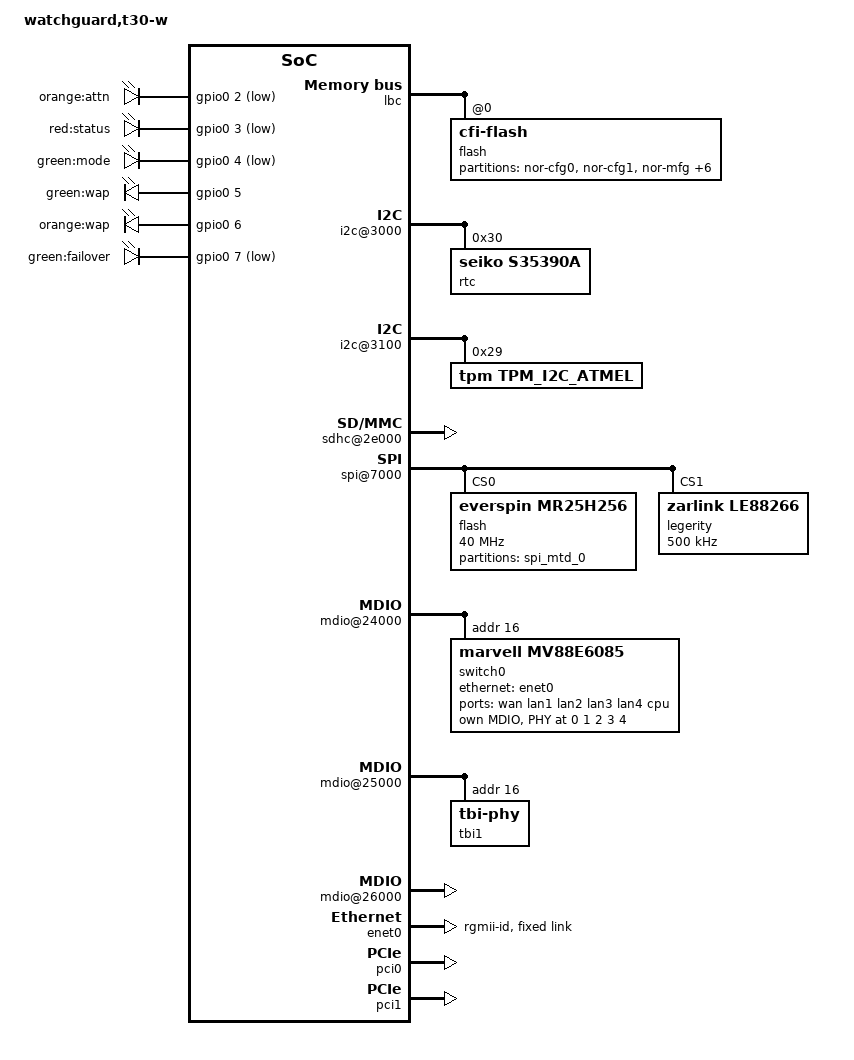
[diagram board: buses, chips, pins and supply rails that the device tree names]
// SPDX-License-Identifier: GPL-2.0-or-later OR MIT

#include <dt-bindings/gpio/gpio.h>
#include <dt-bindings/input/input.h>

/include/ "fsl/p1020si-pre.dtsi"
/ {
	model = "watchguard,t30-w";
	compatible = "watchguard,t30-w";
	
	aliases {
		serial0 = &serial0;
		serial1 = &serial1;
		ethernet0 = &enet0;
		pci0 = &pci0;
		pci1 = &pci1;
		led-boot = &attn_orange;
		led-failsafe = &status_red;
		led-running = &attn_orange;
		led-upgrade = &status_red;
	};
		
	memory {
		device_type = "memory";
	};
	
	cpus {
		/delete-property/ PowerPC,P1020@1; /* P1011 have one core only */
	};

	lbc: localbus@ffe05000 {
		reg = <0x0 0xffe05000 0x0 0x1000>;
		compatible = "fsl,p1020-elbc","fsl,elbc","simple-bus";
		interrupts = <0x13 0x02>;
		interrupt-parent = <&mpic>;

		/* NOR Flash */
		ranges = <0x00 0x00 0x00 0xefc00000 0x100000>;
		
		flash@0 {
			#address-cells = <0x01>;
			#size-cells = <0x01>;
			compatible = "cfi-flash";
			reg = <0x00 0x00 0x400000>;
			bank-width = <0x02>;
			device-width = <0x01>;
			
			partitions {
				compatible = "fixed-partitions";
				#address-cells = <1>;
				#size-cells = <1>;
				
				partition@0 {
					reg = <0x00 0x20000>;
					label = "nor-cfg0";

					nvmem-layout {
						compatible = "fixed-layout";
						#address-cells = <1>;
						#size-cells = <1>;
						macaddr_hwinfo_1830: macaddr@1830 {
							compatible = "mac-base";
							reg = <0x1830 0x11>;
							#nvmem-cell-cells = <1>;
						};
						macaddr_hwinfo_1844: macaddr@1844 {
							compatible = "mac-base";
							reg = <0x1844 0x11>;
							#nvmem-cell-cells = <1>;
						};
						macaddr_hwinfo_1858: macaddr@1858 {
							compatible = "mac-base";
							reg = <0x1858 0x11>;
							#nvmem-cell-cells = <1>;
						};
						macaddr_hwinfo_186c: macaddr@186c {
							compatible = "mac-base";
							reg = <0x186c 0x11>;
							#nvmem-cell-cells = <1>;
						};
						macaddr_hwinfo_1880: macaddr@1880 {
							compatible = "mac-base";
							reg = <0x1880 0x11>;
							#nvmem-cell-cells = <1>;
						};
						macaddr_hwinfo_1894: macaddr@1894 {
							compatible = "mac-base";
							reg = <0x1894 0x11>;
							#nvmem-cell-cells = <1>;
						};
					};
				};

				partition@20000 {
					reg = <0x20000 0x10000>;
					label = "nor-cfg1";
				};

				partition@30000 {
					reg = <0x30000 0x20000>;
					label = "nor-mfg";
				};

				partition@50000 {
					reg = <0x50000 0xc0000>;
					label = "nor-bootopt";
				};

				partition@110000 {
					reg = <0x110000 0xc0000>;
					label = "nor-extra1";
				};

				partition@1D0000 {
					reg = <0x1d0000 0xc0000>;
					label = "nor-extra2";
				};

				partition@290000 {
					reg = <0x290000 0xe0000>;
					label = "nor-backup";
				};

				partition@370000 {
					reg = <0x370000 0x10000>;
					label = "nor-ubootenv";
				};

				partition@380000 {
					reg = <0x380000 0x80000>;
					label = "nor-uboot";
				};
			};
		};
	};

	soc: soc@ffe00000 {
		compatible = "fsl,p1020-immr","simple-bus";
		ranges = <0x0 0x0 0xffe00000 0x100000>;
		
		i2c@3000 {
			rtc@30 {
				compatible = "seiko,s35390a";
				reg = <0x30>;
			};
		};

		i2c@3100 {
			tpm@29 {
				compatible = "tpm,tpm_i2c_atmel";
				reg = <0x29>;
			};
		};
		
		sdhc@2e000 {
			compatible = "fsl,p1020-esdhc","fsl,esdhc";
			sdhci,auto-cmd12;
			reg = <0x2e000 0x1000>;
			interrupts = <0x48 0x2 0x0 0x0>;
			interrupt-parent = <&mpic>;
			fsl,sdhci-dma-broken;
			fsl,sdhci-ahb2mag-irq-bypass;
			fsl,sdhci-adjust-timeout;
			clock-frequency = <0>;
		};

		spi@7000 {
			cell-index = <0x00>;
			#address-cells = <0x01>;
			#size-cells = <0x00>;
			compatible = "fsl,mpc8536-espi";
			reg = <0x7000 0x1000>;
			interrupts = <0x3b 0x02>;
			interrupt-parent = <&mpic>;
			fsl,espi-num-chipselects = <0x04>;

			flash@0 {
				#address-cells = <0x01>;
				#size-cells = <0x01>;
				compatible = "everspin,mr25h256","jedec,spi-nor";
				reg = <0>; /* Chip select 0 */
				spi-max-frequency = <40000000>;
				m25p,fast-read;

				partition@spi_mtd_0 {
					label = "spi_mtd_0";
					reg = <0x00 0x8000>;
				};
			};

			legerity@1 {
				compatible = "zarlink,le88266";
				reg = <0x01>;
				spi-max-frequency = <500000>;
			};
		};
		
		usb@22000 {
			phy_type = "ulpi";
			dr_mode = "host";
		};

		mdio@24000 {
			compatible = "fsl,etsec2-mdio";
			reg = <0x24000 0x1000 0xb0030 0x4>;
			
			switch0: tbi0: tbi-phy@16 {
				compatible = "marvell,mv88e6085";
				reg = <0x10>;
				
				mdio {
					#address-cells = <1>;
					#size-cells = <0>;

					switch0phy0: switch0phy0@0 {
						reg = <0x00>;
						interrupt-parent = <&switch0>;
					};

					switch0phy1: switch0phy1@1 {
						reg = <0x01>;
						interrupt-parent = <&switch0>;
					};

					switch0phy2: switch0phy2@2 {
						reg = <0x02>;
						interrupt-parent = <&switch0>;
					};

					switch0phy3: switch0phy3@3 {
						reg = <0x03>;
						interrupt-parent = <&switch0>;
					};

					switch0phy4: switch0phy4@4 {
						reg = <0x04>;
						interrupt-parent = <&switch0>;
					};
				};
				
				ports {
					#address-cells = <1>;
					#size-cells = <0>;
					  
					port@0 {
						reg = <0x00>;
						label = "wan";
						phy-handle = <&switch0phy0>;
						nvmem-cells = <&macaddr_hwinfo_1830 0>;
						nvmem-cell-names = "mac-address";
					};

					port@1 {
						reg = <1>;
						label = "lan1";
						phy-handle = <&switch0phy1>;
						nvmem-cells = <&macaddr_hwinfo_1844 0>;
						nvmem-cell-names = "mac-address";
					};

					port@2 {
						reg = <2>;
						label = "lan2";
						phy-handle = <&switch0phy2>;
						nvmem-cells = <&macaddr_hwinfo_1858 0>;
						nvmem-cell-names = "mac-address";
					};
					  
					port@3 {
						reg = <3>;
						label = "lan3";
						phy-handle = <&switch0phy3>;
						nvmem-cells = <&macaddr_hwinfo_186c 0>;
						nvmem-cell-names = "mac-address";
					};

					port@4 {
						reg = <4>;
						label = "lan4";
						phy-handle = <&switch0phy4>;
						nvmem-cells = <&macaddr_hwinfo_1880 0>;
						nvmem-cell-names = "mac-address";
					};
										
					switch0port6: port@6 {
						reg = <6>;
						label = "cpu";
						ethernet = <&enet0>;
						phy-mode = "rgmii-id";
						fixed-link {
							speed = <1000>;
							full-duplex;
						};
					};
				};
			};
		};
		
		mdio@25000 {
			compatible = "fsl,etsec2-tbi";
			reg = <0x25000 0x1000 0xb1030 0x4>;
			tbi1: tbi-phy@16 {
				reg = <0x10>;
			};
		};
		
		mdio@26000 {
			#address-cells = <1>;
			#size-cells = <0>;
			compatible = "fsl,etsec2-tbi";
			reg = <0x26000 0x1000 0xb1030 0x4>;
		};

		enet0: ethernet@b0000 {
			compatible = "fsl,etsec2";
			phy-connection-type = "rgmii-id";
			fixed-link {
				speed = <1000>;
				full-duplex;
			};
		};

		enet1: ethernet@b1000 {
			status = "disabled";
		};

		enet2: ethernet@b2000 {
			status = "disabled";
		};

		gpio0: gpio@f000 {
			compatible = "fsl,mpc8572-gpio", "fsl,pq3-gpio";
			reg = <0xf000 0x1000>;
			interrupts = <47 2>;
			interrupt-parent = <&mpic>;
			#gpio-cells = <2>;
			gpio-controller;
		};
	};
	
	leds {
		compatible = "gpio-leds";

		attn_orange: attn_orange {
			gpios = <&gpio0 2 GPIO_ACTIVE_LOW>;
			label = "orange:attn";
		};
		
		status_red: status_red {
			gpios = <&gpio0 3 GPIO_ACTIVE_LOW>;
			label = "red:status";
		};
		
		mode_green: mode_green {
			gpios = <&gpio0 4 GPIO_ACTIVE_LOW>;
			label = "green:mode";
		};
		
		wap_green: wap_green {
			gpios = <&gpio0 5 GPIO_ACTIVE_HIGH>;
			label = "green:wap";
			default-state = "keep";
		};
		
		wap_orange: wap_orange {
			gpios = <&gpio0 6 GPIO_ACTIVE_HIGH>;
			label = "orange:wap";
			default-state = "keep";
		};
		
		failover_green: failover_green {
			gpios = <&gpio0 7 GPIO_ACTIVE_LOW>;
			label = "green:failover";
		};
	};

	//fsl-pci ffe09000.pcie: PCI host bridge to bus 0000:00
	pci0: pcie@ffe09000 {
		cell-index = <0x01>;
		compatible = "fsl,mpc8548-pcie";
		device_type = "pci";
		#interrupt-cells = <0x01>;
		#size-cells = <0x02>;
		#address-cells = <0x03>;
		reg = <0x00 0xffe09000 0x00 0x1000>;
		bus-range = <0x00 0xff>;
		ranges = <0x2000000 0x0 0xa0000000 0x0 0xa0000000
					0x0 0x20000000>,
				 <0x1000000 0x0 0x0        0x0 0xffc10000
					0x0 0x10000>;
		clock-frequency = <33333333>;
		interrupt-parent = <&mpic>;
		interrupts = <0x10 0x02>;
		interrupt-map-mask = <0xf800 0x00 0x00 0x07>;
		interrupt-map = <0x00 0x00 0x00 0x01 0x02 0x04 0x01 0x00 0x00 
			0x00 0x02 0x02 0x05 0x01 0x00 0x00 0x00 0x03 0x02 0x06 0x01 
			0x00 0x00 0x00 0x04 0x02 0x07 0x01>;

		pcie@0 {
			reg = <0x00 0x00 0x00 0x00 0x00>;
			#size-cells = <0x02>;
			#address-cells = <0x03>;
			device_type = "pci";
			ranges = <0x2000000 0x0 0xa0000000 0x2000000 0x0 0xa0000000
						0x0 0x20000000>,
					 <0x1000000 0x0 0x0        0x1000000 0x0 0x0
						0x0 0x100000>;
		};
	};

	//fsl-pci ffe0a000.pcie: PCI host bridge to bus 0001:02
	pci1: pcie@ffe0a000 {
		cell-index = <0x02>;
		compatible = "fsl,mpc8548-pcie";
		device_type = "pci";
		#interrupt-cells = <0x01>;
		#size-cells = <0x02>;
		#address-cells = <0x03>;
		reg = <0x00 0xffe0a000 0x00 0x1000>;
		bus-range = <0x00 0xff>;
		ranges = <0x2000000 0x0 0x80000000 0x0 0x80000000 
					0x0 0x20000000>,
				 <0x1000000 0x0 0x0        0x0 0xffc00000 
					0x0 0x10000>;
		clock-frequency = <33333333>;
		interrupt-parent = <&mpic>;
		interrupts = <0x10 0x02>;
		interrupt-map-mask = <0xf800 0x00 0x00 0x07>;
		interrupt-map = <0x00 0x00 0x00 0x01 0x02 0x00 0x01 0x00 0x00 
			0x00 0x02 0x02 0x01 0x01 0x00 0x00 0x00 0x03 0x02 0x02 0x01 
			0x00 0x00 0x00 0x04 0x02 0x03 0x01>;

		pcie@0 {
			reg = <0x00 0x00 0x00 0x00 0x00>;
			#size-cells = <0x02>;
			#address-cells = <0x03>;
			device_type = "pci";
			ranges = <0x2000000 0x0 0x80000000 0x2000000 0x0 0x80000000
						0x0 0x20000000>,
					 <0x1000000 0x0 0x0        0x1000000 0x0 0x0
						0x0 0x100000>;
			ath10k: wifi@0,0 {
				reg = <0x0000 0 0 0 0>;
				#gpio-cells = <2>;
				gpio-controller;
				nvmem-cells = <&macaddr_hwinfo_1894 0>;
				nvmem-cell-names = "mac-address";
			};
		};
	};
};

/include/ "fsl/p1020si-post.dtsi"
